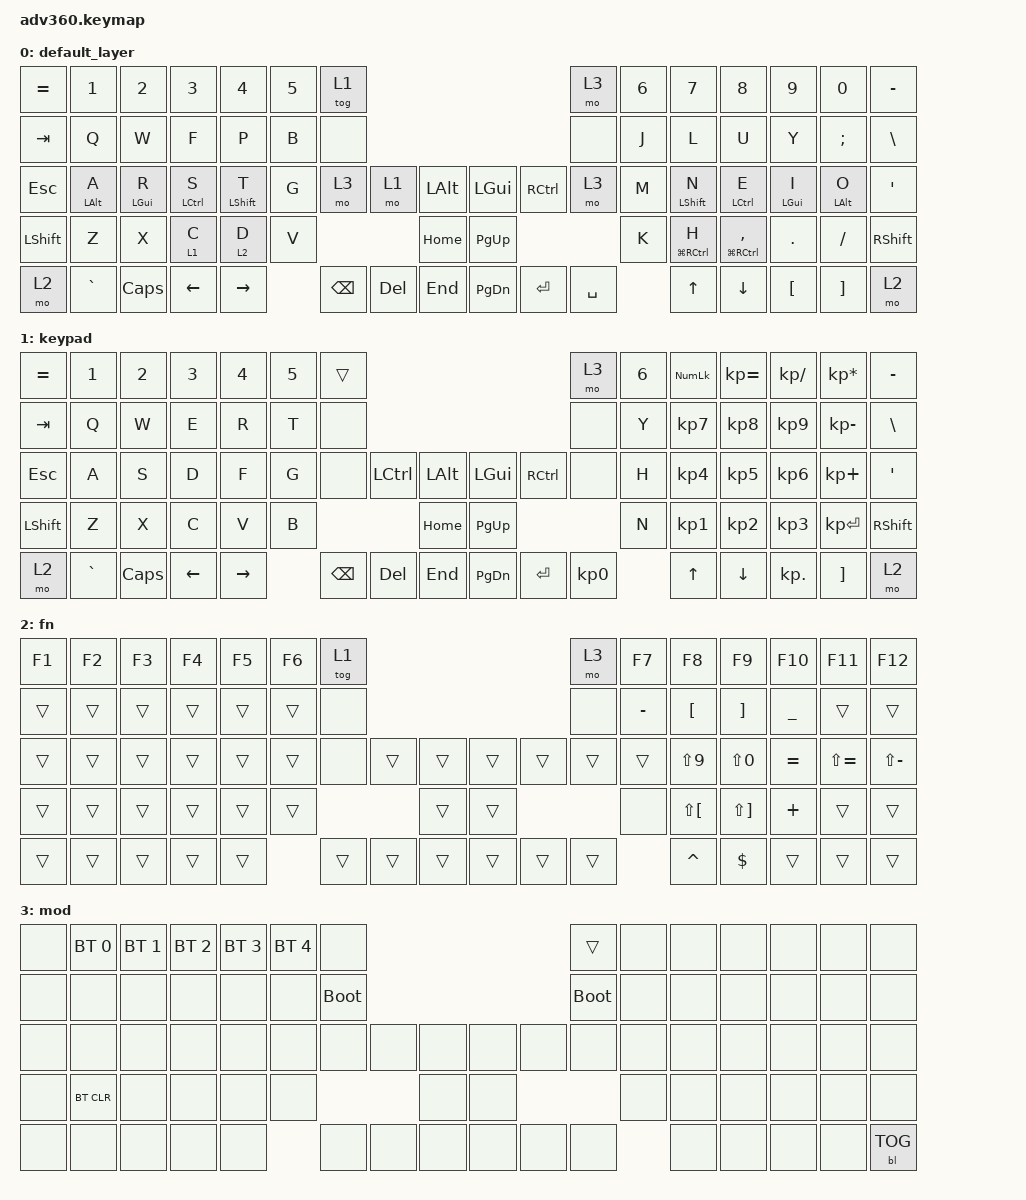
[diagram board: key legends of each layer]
#include <dt-bindings/zmk/stp.h>
#include <behaviors.dtsi>
#include <dt-bindings/zmk/backlight.h>
#include <dt-bindings/zmk/bt.h>
#include <dt-bindings/zmk/keys.h>

/ {
    #include "macros.dtsi"

    behaviors {
        hm: homerow_mods {
            compatible = "zmk,behavior-hold-tap";
            label = "HOMEROW_MODS";
            #binding-cells = <2>;
            tapping-term-ms = <190>;
            quick-tap-ms = <100>;
            flavor = "tap-preferred";
            bindings = <&kp>, <&kp>;

            require-prior-idle-ms = <180>;
        };

        lthm: layer_tap_hm_timing {
            compatible = "zmk,behavior-hold-tap";
            label = "LAYER_TAP_HM_TIMING";
            #binding-cells = <2>;
            tapping-term-ms = <190>;
            quick-tap-ms = <100>;
            flavor = "tap-preferred";
            bindings = <&mo>, <&kp>;

            require-prior-idle-ms = <180>;
        };
    };

    keymap {
        compatible = "zmk,keymap";

        default_layer {
            bindings = <
&kp EQUAL  &kp N1      &kp N2      &kp N3              &kp N4            &kp N5  &tog 1                                                 &mo 3      &kp N6  &kp N7            &kp N8               &kp N9      &kp N0         &kp MINUS
&kp TAB    &kp Q       &kp W       &kp F               &kp P             &kp B   &none                                                  &none      &kp J   &kp L             &kp U                &kp Y       &kp SEMICOLON  &kp BSLH
&kp ESC    &hm LALT A  &hm LGUI R  &hm LEFT_CONTROL S  &hm LEFT_SHIFT T  &kp G   &mo 3     &mo 1    &kp LALT      &kp LGUI   &kp RCTRL  &mo 3      &kp M   &hm LEFT_SHIFT N  &hm LCTRL E          &hm LGUI I  &hm LALT O     &kp SQT
&kp LSHFT  &kp Z       &kp X       &lthm 1 C           &lthm 2 D         &kp V                      &kp HOME      &kp PG_UP                        &kp K   &hm LG(RCTRL) H   &hm LG(RCTRL) COMMA  &kp DOT     &kp FSLH       &kp RSHFT
&mo 2      &kp GRAVE   &kp CAPS    &kp LEFT            &kp RIGHT                 &kp BSPC  &kp DEL  &kp END       &kp PG_DN  &kp ENTER  &kp SPACE          &kp UP            &kp DOWN             &kp LBKT    &kp RBKT       &mo 2
            >;
        };

        keypad {
            bindings = <
&kp EQUAL  &kp N1     &kp N2    &kp N3    &kp N4     &kp N5  &trans                                                   &mo 3      &kp N6  &kp KP_NUM  &kp KP_EQUAL  &kp KP_DIVIDE  &kp KP_MULTIPLY  &kp MINUS
&kp TAB    &kp Q      &kp W     &kp E     &kp R      &kp T   &none                                                    &none      &kp Y   &kp KP_N7   &kp KP_N8     &kp KP_N9      &kp KP_MINUS     &kp BSLH
&kp ESC    &kp A      &kp S     &kp D     &kp F      &kp G   &none     &kp LCTRL  &kp LALT      &kp LGUI   &kp RCTRL  &none      &kp H   &kp KP_N4   &kp KP_N5     &kp KP_N6      &kp KP_PLUS      &kp SQT
&kp LSHFT  &kp Z      &kp X     &kp C     &kp V      &kp B                        &kp HOME      &kp PG_UP                        &kp N   &kp KP_N1   &kp KP_N2     &kp KP_N3      &kp KP_ENTER     &kp RSHFT
&mo 2      &kp GRAVE  &kp CAPS  &kp LEFT  &kp RIGHT          &kp BSPC  &kp DEL    &kp END       &kp PG_DN  &kp ENTER  &kp KP_N0          &kp UP      &kp DOWN      &kp KP_DOT     &kp RBKT         &mo 2
            >;
        };

        fn {
            bindings = <
&kp F1  &kp F2  &kp F3  &kp F4  &kp F5  &kp F6  &tog 1                                      &mo 3   &kp F7     &kp F8        &kp F9        &kp F10    &kp F11        &kp F12
&trans  &trans  &trans  &trans  &trans  &trans  &none                                       &none   &kp MINUS  &kp LBKT      &kp RBKT      &kp UNDER  &trans         &trans
&trans  &trans  &trans  &trans  &trans  &trans  &none   &trans  &trans      &trans  &trans  &trans  &trans     &kp LS(N9)    &kp LS(N0)    &kp EQUAL  &kp LS(EQUAL)  &kp LS(MINUS)
&trans  &trans  &trans  &trans  &trans  &trans                  &trans      &trans                  &none      &kp LS(LBKT)  &kp LS(RBKT)  &kp PLUS   &trans         &trans
&trans  &trans  &trans  &trans  &trans          &trans  &trans  &trans      &trans  &trans  &trans             &kp CARET     &kp DOLLAR    &trans     &trans         &trans
            >;
        };

        mod {
            bindings = <
&none  &bt BT_SEL 0  &bt BT_SEL 1  &bt BT_SEL 2  &bt BT_SEL 3  &bt BT_SEL 4  &none                                        &trans       &none  &none  &none  &none  &none  &none
&none  &none         &none         &none         &none         &none         &bootloader                                  &bootloader  &none  &none  &none  &none  &none  &none
&none  &none         &none         &none         &none         &none         &none        &none  &none      &none  &none  &none        &none  &none  &none  &none  &none  &none
&none  &bt BT_CLR    &none         &none         &none         &none                             &none      &none                      &none  &none  &none  &none  &none  &none
&none  &none         &none         &none         &none                       &none        &none  &none      &none  &none  &none               &none  &none  &none  &none  &bl BL_TOG
            >;
        };
    };
};
